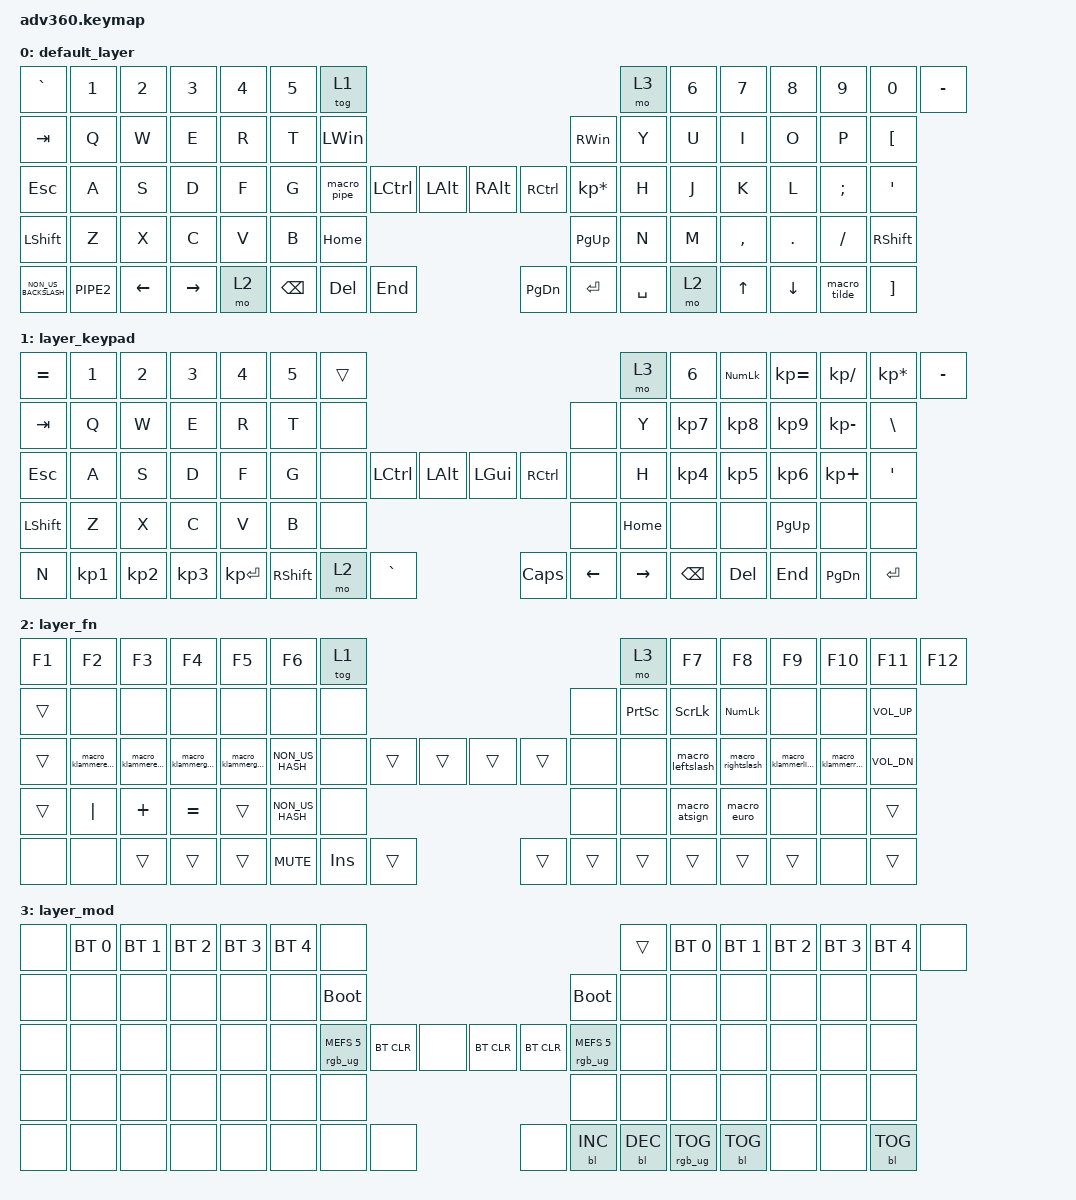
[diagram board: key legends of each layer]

/*
 * Copyright (c) 2020 The ZMK Contributors
 *
 * SPDX-License-Identifier: MIT
 */


/* THIS FILE WAS GENERATED!
 *
 * This file was generated automatically. You may or may not want to
 * edit it directly.
 */

#include <behaviors.dtsi>
#include <dt-bindings/zmk/keys.h>
#include <dt-bindings/zmk/bt.h>
#include <dt-bindings/zmk/rgb.h>
#include <dt-bindings/zmk/backlight.h>

/ {
  behaviors {
    #include "macros.dtsi"
    #include "version.dtsi"

    hm: homerow_mods {
        compatible = "zmk,behavior-hold-tap";
        label = "HOMEROW_MODS";
        #binding-cells = <2>;
        tapping-term-ms = <200>;
        quick_tap_ms = <175>;
        flavor = "tap-preferred";
        bindings = <&kp>, <&kp>;
    };
  };

    keymap {
        compatible = "zmk,keymap";


        default_layer {
            bindings = <
            &kp GRAVE     &kp N1          &kp N2           &kp N3  &kp N4  &kp N5                   &tog 1                                                                            &mo 3  &kp N6  &kp N7        &kp N8          &kp N9        &kp N0          &kp MINUS
              &kp TAB      &kp Q           &kp W            &kp E   &kp R   &kp T             &kp LEFT_WIN                                                                    &kp RIGHT_WIN   &kp Y   &kp U         &kp I           &kp O         &kp P   &kp LEFT_BRACKET
              &kp ESC      &kp A           &kp S            &kp D   &kp F   &kp G              &macro_pipe   &kp LCTRL  &kp LALT                  &kp RIGHT_ALT  &kp RCTRL  &kp KP_MULTIPLY   &kp H   &kp J         &kp K           &kp L      &kp SEMI            &kp SQT
            &kp LSHFT      &kp Z           &kp X            &kp C   &kp V   &kp B                                       &kp HOME                    &kp PAGE_UP                               &kp N   &kp M     &kp COMMA         &kp DOT     &kp SLASH    &kp RIGHT_SHIFT
 &kp NON_US_BACKSLASH  &kp PIPE2  &kp LEFT_ARROW  &kp RIGHT_ARROW   &mo 2                    &kp BACKSPACE  &kp DELETE   &kp END                      &kp PG_DN  &kp ENTER        &kp SPACE           &mo 2  &kp UP_ARROW  &kp DOWN_ARROW  &macro_tilde  &kp RIGHT_BRACKET
            >;
        };

        layer_keypad {
            bindings = <
 &kp EQUAL     &kp N1     &kp N2     &kp N3        &kp N4  &kp N5               &trans                                                                 &mo 3    &kp N6  &kp KP_NUM  &kp KP_EQUAL  &kp KP_DIVIDE  &kp KP_MULTIPLY  &kp MINUS
   &kp TAB      &kp Q      &kp W      &kp E         &kp R   &kp T                &none                                                                 &none     &kp Y   &kp KP_N7     &kp KP_N8      &kp KP_N9     &kp KP_MINUS   &kp BSLH
   &kp ESC      &kp A      &kp S      &kp D         &kp F   &kp G                &none  &kp LCTRL   &kp LALT                  &kp LGUI  &kp RCTRL      &none     &kp H   &kp KP_N4     &kp KP_N5      &kp KP_N6      &kp KP_PLUS    &kp SQT
 &kp LSHFT      &kp Z      &kp X      &kp C         &kp V   &kp B                                      &none                     &none                        &kp HOME       &none         &none      &kp PG_UP            &none      &none
     &kp N  &kp KP_N1  &kp KP_N2  &kp KP_N3  &kp KP_ENTER                    &kp RSHFT      &mo 2  &kp GRAVE                  &kp CAPS   &kp LEFT  &kp RIGHT              &kp BSPC       &kp DEL        &kp END        &kp PG_DN  &kp ENTER
            >;
        };

        layer_fn {
            bindings = <
 &kp F1              &kp F2              &kp F3                &kp F4                &kp F5           &kp F6                &tog 1                                                    &mo 3           &kp F7            &kp F8             &kp F9              &kp F10               &kp F11       &kp F12
 &trans               &none               &none                 &none                 &none            &none                 &none                                                    &none  &kp PRINTSCREEN    &kp SCROLLLOCK     &kp KP_NUMLOCK                &none                 &none  &kp C_VOL_UP
 &trans  &macro_klammereckl  &macro_klammereckr  &macro_klammergeschl  &macro_klammergeschr  &kp NON_US_HASH                 &none   &trans  &trans                  &trans  &trans   &none            &none  &macro_leftslash  &macro_rightslash  &macro_klammerlinks  &macro_klammerrechts  &kp C_VOL_DN
 &trans            &kp PIPE            &kp PLUS             &kp EQUAL                &trans  &kp NON_US_HASH                                  &none                   &none                            &none     &macro_atsign        &macro_euro                &none                 &none        &trans
  &none               &none              &trans                &trans                &trans                             &kp C_MUTE  &kp INS  &trans                  &trans  &trans  &trans                             &trans             &trans               &trans                 &none        &trans
            >;
        };

        layer_mod {
            bindings = <
  &none  &bt BT_SEL 0  &bt BT_SEL 1  &bt BT_SEL 2  &bt BT_SEL 3  &bt BT_SEL 4                             &none                                                                              &trans  &bt BT_SEL 0     &bt BT_SEL 1  &bt BT_SEL 2  &bt BT_SEL 3  &bt BT_SEL 4       &none
  &none         &none         &none         &none         &none         &none                       &bootloader                                                                         &bootloader         &none            &none         &none         &none         &none       &none
  &none         &none         &none         &none         &none         &none            &rgb_ug RGB_MEFS_CMD 5  &bt BT_CLR   &none                  &bt BT_CLR  &bt BT_CLR  &rgb_ug RGB_MEFS_CMD 5         &none            &none         &none         &none         &none       &none
  &none         &none         &none         &none         &none         &none                                                 &none                       &none                                             &none            &none         &none         &none         &none       &none
  &none         &none         &none         &none         &none                                           &none       &none   &none                       &none  &bl BL_INC              &bl BL_DEC                &rgb_ug RGB_TOG    &bl BL_TOG         &none         &none  &bl BL_TOG
            >;
        };

    };
};
